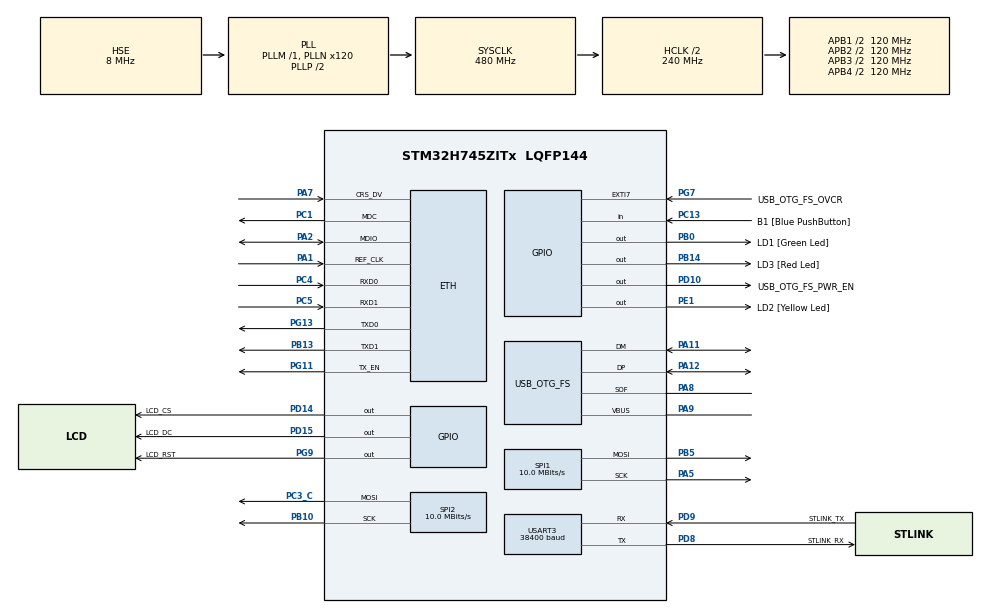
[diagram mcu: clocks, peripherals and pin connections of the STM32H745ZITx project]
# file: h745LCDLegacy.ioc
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CortexM4.IPs=FATFS_M4\:I,FREERTOS_M4\:I,IWDG2\:I,RCC,WWDG2\:I,DMA,BDMA,MDMA,NVIC2\:I,ETH,DEBUG,USB_DEVICE_M4\:I,USB_HOST_M4\:I,PDM2PCM_M4\:I,PWR,RESMGR_UTILITY,SYS_M4\:I,CORTEX_M4\:I,OPENAMP_M4\:I,VREFBUF,GPIO
CortexM7.IPs=FATFS_M7\:I,FREERTOS_M7\:I,IWDG1\:I,RCC\:I,WWDG1\:I,DMA\:I,BDMA\:I,MDMA\:I,NVIC1\:I,SYS\:I,USART3\:I,USB_OTG_FS\:I,ETH\:I,CORTEX_M7\:I,DEBUG\:I,USB_DEVICE_M7\:I,USB_HOST_M7\:I,PDM2PCM_M7\:I,PWR\:I,RESMGR_UTILITY\:I,OPENAMP_M7\:I,VREFBUF\:I,SPI1\:I,GPIO\:I,SPI2\:I
CortexM7.Pins=PD14,PD15,PG9
Dma.Request0=SPI1_TX
Dma.Request1=USART3_RX
Dma.Request2=USART3_TX
Dma.Request3=SPI2_TX
Dma.SPI1_TX.0.Direction=DMA_MEMORY_TO_PERIPH
Dma.SPI1_TX.0.EventEnable=DISABLE
Dma.SPI1_TX.0.FIFOMode=DMA_FIFOMODE_DISABLE
Dma.SPI1_TX.0.Instance=DMA1_Stream0
Dma.SPI1_TX.0.MemDataAlignment=DMA_MDATAALIGN_BYTE
Dma.SPI1_TX.0.MemInc=DMA_MINC_ENABLE
Dma.SPI1_TX.0.Mode=DMA_CIRCULAR
Dma.SPI1_TX.0.PeriphDataAlignment=DMA_PDATAALIGN_BYTE
Dma.SPI1_TX.0.PeriphInc=DMA_PINC_DISABLE
Dma.SPI1_TX.0.Polarity=HAL_DMAMUX_REQ_GEN_RISING
Dma.SPI1_TX.0.Priority=DMA_PRIORITY_LOW
Dma.SPI1_TX.0.RequestNumber=1
Dma.SPI1_TX.0.SignalID=NONE
Dma.SPI1_TX.0.SyncEnable=DISABLE
Dma.SPI1_TX.0.SyncPolarity=HAL_DMAMUX_SYNC_NO_EVENT
Dma.SPI1_TX.0.SyncRequestNumber=1
Dma.SPI1_TX.0.SyncSignalID=NONE
Dma.SPI2_TX.3.Direction=DMA_MEMORY_TO_PERIPH
Dma.SPI2_TX.3.EventEnable=DISABLE
Dma.SPI2_TX.3.FIFOMode=DMA_FIFOMODE_DISABLE
Dma.SPI2_TX.3.Instance=DMA1_Stream3
Dma.SPI2_TX.3.MemDataAlignment=DMA_MDATAALIGN_BYTE
Dma.SPI2_TX.3.MemInc=DMA_MINC_ENABLE
Dma.SPI2_TX.3.Mode=DMA_CIRCULAR
Dma.SPI2_TX.3.PeriphDataAlignment=DMA_PDATAALIGN_BYTE
Dma.SPI2_TX.3.PeriphInc=DMA_PINC_DISABLE
Dma.SPI2_TX.3.Polarity=HAL_DMAMUX_REQ_GEN_RISING
Dma.SPI2_TX.3.Priority=DMA_PRIORITY_LOW
Dma.SPI2_TX.3.RequestNumber=1
Dma.SPI2_TX.3.SignalID=NONE
Dma.SPI2_TX.3.SyncEnable=DISABLE
Dma.SPI2_TX.3.SyncPolarity=HAL_DMAMUX_SYNC_NO_EVENT
Dma.SPI2_TX.3.SyncRequestNumber=1
Dma.SPI2_TX.3.SyncSignalID=NONE
Dma.USART3_RX.1.Direction=DMA_PERIPH_TO_MEMORY
Dma.USART3_RX.1.EventEnable=DISABLE
Dma.USART3_RX.1.FIFOMode=DMA_FIFOMODE_DISABLE
Dma.USART3_RX.1.Instance=DMA1_Stream1
Dma.USART3_RX.1.MemDataAlignment=DMA_MDATAALIGN_BYTE
Dma.USART3_RX.1.MemInc=DMA_MINC_ENABLE
Dma.USART3_RX.1.Mode=DMA_CIRCULAR
Dma.USART3_RX.1.PeriphDataAlignment=DMA_PDATAALIGN_BYTE
Dma.USART3_RX.1.PeriphInc=DMA_PINC_DISABLE
Dma.USART3_RX.1.Polarity=HAL_DMAMUX_REQ_GEN_RISING
Dma.USART3_RX.1.Priority=DMA_PRIORITY_LOW
Dma.USART3_RX.1.RequestNumber=1
Dma.USART3_RX.1.SignalID=NONE
Dma.USART3_RX.1.SyncEnable=DISABLE
Dma.USART3_RX.1.SyncPolarity=HAL_DMAMUX_SYNC_NO_EVENT
Dma.USART3_RX.1.SyncRequestNumber=1
Dma.USART3_RX.1.SyncSignalID=NONE
Dma.USART3_TX.2.Direction=DMA_MEMORY_TO_PERIPH
Dma.USART3_TX.2.EventEnable=DISABLE
Dma.USART3_TX.2.FIFOMode=DMA_FIFOMODE_DISABLE
Dma.USART3_TX.2.Instance=DMA1_Stream2
Dma.USART3_TX.2.MemDataAlignment=DMA_MDATAALIGN_BYTE
Dma.USART3_TX.2.MemInc=DMA_MINC_ENABLE
Dma.USART3_TX.2.Mode=DMA_NORMAL
Dma.USART3_TX.2.PeriphDataAlignment=DMA_PDATAALIGN_BYTE
Dma.USART3_TX.2.PeriphInc=DMA_PINC_DISABLE
Dma.USART3_TX.2.Polarity=HAL_DMAMUX_REQ_GEN_RISING
Dma.USART3_TX.2.Priority=DMA_PRIORITY_LOW
Dma.USART3_TX.2.RequestNumber=1
Dma.USART3_TX.2.SignalID=NONE
Dma.USART3_TX.2.SyncEnable=DISABLE
Dma.USART3_TX.2.SyncPolarity=HAL_DMAMUX_SYNC_NO_EVENT
Dma.USART3_TX.2.SyncRequestNumber=1
Dma.USART3_TX.2.SyncSignalID=NONE
ETH.MediaInterface=HAL_ETH_RMII_MODE
Mcu.Family=STM32H7
Mcu.Name=STM32H745ZITx
Mcu.Package=LQFP144
NVIC1.DMA1_Stream0_IRQn=true\:0\:0\:false\:false\:true\:false\:true\:true
NVIC1.DMA1_Stream1_IRQn=true\:0\:0\:false\:false\:true\:false\:true\:true
NVIC1.DMA1_Stream2_IRQn=true\:0\:0\:false\:false\:true\:false\:true\:true
NVIC1.DMA1_Stream3_IRQn=true\:0\:0\:false\:false\:true\:false\:true\:true
NVIC1.PriorityGroup=NVIC_PRIORITYGROUP_4
NVIC1.SPI1_IRQn=true\:0\:0\:false\:false\:true\:false\:true\:true
NVIC1.SPI2_IRQn=true\:0\:0\:false\:false\:true\:false\:true\:true
NVIC1.USART3_IRQn=true\:0\:0\:false\:false\:true\:true\:true\:true
NVIC2.PriorityGroup=NVIC_PRIORITYGROUP_4
PA1.Mode=RMII
PA1.PinAttribute=CortexM7
PA1.Signal=ETH_REF_CLK
PA11.Mode=Device_Only
PA11.PinAttribute=CortexM7
PA11.Signal=USB_OTG_FS_DM
PA12.Mode=Device_Only
PA12.PinAttribute=CortexM7
PA12.Signal=USB_OTG_FS_DP
PA2.Mode=RMII
PA2.PinAttribute=CortexM7
PA2.Signal=ETH_MDIO
PA5.Mode=TX_Only_Simplex_Unidirect_Master
PA5.PinAttribute=CortexM7
PA5.Signal=SPI1_SCK
PA7.Mode=RMII
PA7.PinAttribute=CortexM7
PA7.Signal=ETH_CRS_DV
PA8.Mode=Activate_SOF_FS
PA8.PinAttribute=CortexM7
PA8.Signal=USB_OTG_FS_SOF
PA9.Mode=Activate_VBUS
PA9.PinAttribute=CortexM7
PA9.Signal=USB_OTG_FS_VBUS
PB0.GPIO_Label=LD1 [Green Led]
PB0.PinAttribute=Free
PB0.Signal=GPIO_Output
PB10.Mode=TX_Only_Simplex_Unidirect_Master
PB10.PinAttribute=CortexM7
PB10.Signal=SPI2_SCK
PB13.Mode=RMII
PB13.PinAttribute=CortexM7
PB13.Signal=ETH_TXD1
PB14.GPIO_Label=LD3 [Red Led]
PB14.PinAttribute=Free
PB14.Signal=GPIO_Output
PB5.Mode=TX_Only_Simplex_Unidirect_Master
PB5.PinAttribute=CortexM7
PB5.Signal=SPI1_MOSI
PC1.Mode=RMII
PC1.PinAttribute=CortexM7
PC1.Signal=ETH_MDC
PC13.GPIO_Label=B1 [Blue PushButton]
PC13.PinAttribute=Free
PC13.Signal=GPIO_Input
PC14-OSC32_IN\ (OSC32_IN).Mode=LSE-External-Oscillator
PC14-OSC32_IN\ (OSC32_IN).PinAttribute=CortexM7
PC14-OSC32_IN\ (OSC32_IN).Signal=RCC_OSC32_IN
PC15-OSC32_OUT\ (OSC32_OUT).Mode=LSE-External-Oscillator
PC15-OSC32_OUT\ (OSC32_OUT).PinAttribute=CortexM7
PC15-OSC32_OUT\ (OSC32_OUT).Signal=RCC_OSC32_OUT
PC3_C.Mode=TX_Only_Simplex_Unidirect_Master
PC3_C.PinAttribute=CortexM7
PC3_C.Signal=SPI2_MOSI
PC4.Mode=RMII
PC4.PinAttribute=CortexM7
PC4.Signal=ETH_RXD0
PC5.Mode=RMII
PC5.PinAttribute=CortexM7
PC5.Signal=ETH_RXD1
PD10.GPIO_Label=USB_OTG_FS_PWR_EN
PD10.PinAttribute=Free
PD10.Signal=GPIO_Output
PD14.GPIO_Label=LCD_CS
PD14.PinAttribute=CortexM7
PD14.PinState=GPIO_PIN_SET
PD14.Signal=GPIO_Output
PD15.GPIO_Label=LCD_DC
PD15.PinAttribute=CortexM7
PD15.Signal=GPIO_Output
PD8.GPIO_Label=STLINK_RX
PD8.Mode=Asynchronous
PD8.PinAttribute=CortexM7
PD8.Signal=USART3_TX
PD9.GPIO_Label=STLINK_TX
PD9.Mode=Asynchronous
PD9.PinAttribute=CortexM7
PD9.Signal=USART3_RX
PE1.GPIO_Label=LD2 [Yellow Led]
PE1.PinAttribute=Free
PE1.Signal=GPIO_Output
PG11.Mode=RMII
PG11.PinAttribute=CortexM7
PG11.Signal=ETH_TX_EN
PG13.Mode=RMII
PG13.PinAttribute=CortexM7
PG13.Signal=ETH_TXD0
PG7.GPIO_Label=USB_OTG_FS_OVCR
PG7.PinAttribute=Free
PG7.Signal=GPXTI7
PG9.GPIO_Label=LCD_RST
PG9.PinAttribute=CortexM7
PG9.PinState=GPIO_PIN_SET
PG9.Signal=GPIO_Output
PH0-OSC_IN\ (PH0).Mode=HSE-External-Clock-Source
PH0-OSC_IN\ (PH0).PinAttribute=CortexM7
PH0-OSC_IN\ (PH0).Signal=RCC_OSC_IN
PH1-OSC_OUT\ (PH1).PinAttribute=CortexM7
PH1-OSC_OUT\ (PH1).Signal=RCC_OSC_OUT
ProjectManager.HeapSize=M4-0x200,M7-0x200
ProjectManager.StackSize=M4-0x400,M7-0x400
ProjectManager.TargetToolchain=STM32CubeIDE
RCC.ADCFreq_Value=16125000
RCC.APB1Freq_Value=120000000
RCC.APB2Freq_Value=120000000
RCC.APB3Freq_Value=120000000
RCC.APB4Freq_Value=120000000
RCC.CortexFreq_Value=480000000
RCC.D1PPRE=RCC_APB3_DIV2
RCC.D2PPRE1=RCC_APB1_DIV2
RCC.D2PPRE2=RCC_APB2_DIV2
RCC.D3PPRE=RCC_APB4_DIV2
RCC.DIVM1=1
RCC.DIVM3=1
RCC.DIVN1=120
RCC.DIVN3=18
RCC.DIVQ1=6
RCC.DIVQ3=3
RCC.HCLKFreq_Value=240000000
RCC.HPRE=RCC_HCLK_DIV2
RCC.HSE_VALUE=8000000
RCC.PLL2FRACN=0
RCC.PLL3FRACN=6144
RCC.PLLFRACN=0
RCC.PWR_Regulator_Voltage_Scale=PWR_REGULATOR_VOLTAGE_SCALE0
RCC.SYSCLKFreq_VALUE=480000000
RCC.SYSCLKSource=RCC_SYSCLKSOURCE_PLLCLK
RCC.SupplySource=PWR_DIRECT_SMPS_SUPPLY
RCC.USBCLockSelection=RCC_USBCLKSOURCE_PLL3
RCC.USBFreq_Value=50000000
SPI1.BaudRatePrescaler=SPI_BAUDRATEPRESCALER_16
SPI1.CalculateBaudRate=10.0 MBits/s
SPI1.DataSize=SPI_DATASIZE_8BIT
SPI1.Direction=SPI_DIRECTION_2LINES_TXONLY
SPI1.MasterKeepIOState=SPI_MASTER_KEEP_IO_STATE_ENABLE
SPI1.Mode=SPI_MODE_MASTER
SPI1.VirtualType=VM_MASTER
SPI2.BaudRatePrescaler=SPI_BAUDRATEPRESCALER_16
SPI2.CalculateBaudRate=10.0 MBits/s
SPI2.DataSize=SPI_DATASIZE_8BIT
SPI2.Direction=SPI_DIRECTION_2LINES_TXONLY
SPI2.Mode=SPI_MODE_MASTER
SPI2.VirtualType=VM_MASTER
USART3.BaudRate=38400
USART3.VirtualMode-Asynchronous=VM_ASYNC
USB_OTG_FS.VirtualMode=Device_Only
VP_SYS_M4_VS_Systick.Mode=SysTick
board=NUCLEO-H745ZI-Q

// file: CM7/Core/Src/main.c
/* USER CODE BEGIN Header */
/**
 ******************************************************************************
 * @file           : main.c
 * @brief          : Main program body
 ******************************************************************************
 * @attention
 *
 * <h2><center>&copy; Copyright (c) 2021 STMicroelectronics.
 * All rights reserved.</center></h2>
 *
 * This software component is licensed by ST under BSD 3-Clause license,
 * the "License"; You may not use this file except in compliance with the
 * License. You may obtain a copy of the License at:
 *                        opensource.org/licenses/BSD-3-Clause
 *
 ******************************************************************************
 */
/* USER CODE END Header */
#include "main.h"
#include "string.h"

/* USER CODE BEGIN Includes */
#include <stdlib.h>
#include "ST7735.h"
#include "Uart.h"
#include "BMPUartDecode.h"
/* USER CODE END Includes */

/* USER CODE BEGIN PD */

#ifndef HSEM_ID_0
#define HSEM_ID_0 (0U) /* HW semaphore 0*/
#endif
/* USER CODE END PD */

#if defined ( __ICCARM__ ) /*!< IAR Compiler */
#pragma location=0x30000000
ETH_DMADescTypeDef  DMARxDscrTab[ETH_RX_DESC_CNT]; /* Ethernet Rx DMA Descriptors */
#pragma location=0x30000200
ETH_DMADescTypeDef  DMATxDscrTab[ETH_TX_DESC_CNT]; /* Ethernet Tx DMA Descriptors */

#elif defined ( __CC_ARM )  /* MDK ARM Compiler */

__attribute__((at(0x30000000))) ETH_DMADescTypeDef  DMARxDscrTab[ETH_RX_DESC_CNT]; /* Ethernet Rx DMA Descriptors */
__attribute__((at(0x30000200))) ETH_DMADescTypeDef  DMATxDscrTab[ETH_TX_DESC_CNT]; /* Ethernet Tx DMA Descriptors */

#elif defined ( __GNUC__ ) /* GNU Compiler */
ETH_DMADescTypeDef DMARxDscrTab[ETH_RX_DESC_CNT] __attribute__((section(".RxDecripSection"))); /* Ethernet Rx DMA Descriptors */
ETH_DMADescTypeDef DMATxDscrTab[ETH_TX_DESC_CNT] __attribute__((section(".TxDecripSection")));   /* Ethernet Tx DMA Descriptors */

#endif

ETH_TxPacketConfig TxConfig;

ETH_HandleTypeDef heth;

SPI_HandleTypeDef hspi1;
SPI_HandleTypeDef hspi2;
DMA_HandleTypeDef hdma_spi1_tx;
DMA_HandleTypeDef hdma_spi2_tx;

UART_HandleTypeDef huart3;
DMA_HandleTypeDef hdma_usart3_rx;
DMA_HandleTypeDef hdma_usart3_tx;

PCD_HandleTypeDef hpcd_USB_OTG_FS;

/* USER CODE BEGIN PV */
LCDHandle ST7735 = { 0 };
UARTStucrture UART2 ={ 0 };
/* USER CODE END PV */

void SystemClock_Config(void);
static void MX_GPIO_Init(void);
static void MX_ETH_Init(void);
static void MX_USART3_UART_Init(void);
static void MX_DMA_Init(void);
static void MX_SPI1_Init(void);
static void MX_USB_OTG_FS_PCD_Init(void);
static void MX_SPI2_Init(void);

int main(void)
{
/* USER CODE BEGIN Boot_Mode_Sequence_0 */
	int32_t timeout;
/* USER CODE END Boot_Mode_Sequence_0 */

/* USER CODE BEGIN Boot_Mode_Sequence_1 */
	/* Wait until CPU2 boots and enters in stop mode or timeout*/
	timeout = 0xFFFF;
	while ((__HAL_RCC_GET_FLAG(RCC_FLAG_D2CKRDY) != RESET) && (timeout-- > 0))
		;
	if (timeout < 0) {
		Error_Handler();
	}
/* USER CODE END Boot_Mode_Sequence_1 */
  /* MCU Configuration--------------------------------------------------------*/

  /* Reset of all peripherals, Initializes the Flash interface and the Systick. */
  HAL_Init();

  /* Configure the system clock */
  SystemClock_Config();
/* USER CODE BEGIN Boot_Mode_Sequence_2 */
	/* When system initialization is finished, Cortex-M7 will release Cortex-M4 by means of
	 HSEM notification */
	/*HW semaphore Clock enable*/
	__HAL_RCC_HSEM_CLK_ENABLE();
	/*Take HSEM */
	HAL_HSEM_FastTake(HSEM_ID_0);
	/*Release HSEM in order to notify the CPU2(CM4)*/
	HAL_HSEM_Release(HSEM_ID_0, 0);
	/* wait until CPU2 wakes up from stop mode */
	timeout = 0xFFFF;
	while ((__HAL_RCC_GET_FLAG(RCC_FLAG_D2CKRDY) == RESET) && (timeout-- > 0))
		;
	if (timeout < 0) {
		Error_Handler();
	}
/* USER CODE END Boot_Mode_Sequence_2 */

  /* Initialize all configured peripherals */
  MX_GPIO_Init();
  MX_ETH_Init();
  MX_USART3_UART_Init();
  MX_DMA_Init();
  MX_SPI1_Init();
  MX_USB_OTG_FS_PCD_Init();
  MX_SPI2_Init();
  /* USER CODE BEGIN 2 */

	ST7735.hspi = &hspi1;
	ST7735.CSPort = GPIOD;
	ST7735.CSPin = GPIO_PIN_14;
	ST7735.DCPort = GPIOD;
	ST7735.DCPin = GPIO_PIN_15;
	ST7735.RstPort = GPIOG;
	ST7735.RstPin = GPIO_PIN_9;
	LCD_init(&ST7735);
	LCD_flush(&ST7735);
	UART2.huart = &huart3;
	UART2.RxLen =255;
	UART2.TxLen =255;
	UARTInit(&UART2);
	UARTResetStart(&UART2);

  /* USER CODE END 2 */

  /* Infinite loop */
	while (1) {

    /* USER CODE BEGIN 3 */
		int16_t read = UARTReadChar(&UART2) ;
		if(read != -1)
			{
				BMPDecoder(read, LCDBufferAddr());
			}
	}
  /* USER CODE END 3 */
}

void SystemClock_Config(void)
{
  RCC_OscInitTypeDef RCC_OscInitStruct = {0};
  RCC_ClkInitTypeDef RCC_ClkInitStruct = {0};

  /** Supply configuration update enable
  */
  HAL_PWREx_ConfigSupply(PWR_DIRECT_SMPS_SUPPLY);

  /** Configure the main internal regulator output voltage
  */
  __HAL_PWR_VOLTAGESCALING_CONFIG(PWR_REGULATOR_VOLTAGE_SCALE0);

  while(!__HAL_PWR_GET_FLAG(PWR_FLAG_VOSRDY)) {}

  /** Macro to configure the PLL clock source
  */
  __HAL_RCC_PLL_PLLSOURCE_CONFIG(RCC_PLLSOURCE_HSE);

  /** Initializes the RCC Oscillators according to the specified parameters
  * in the RCC_OscInitTypeDef structure.
  */
  RCC_OscInitStruct.OscillatorType = RCC_OSCILLATORTYPE_HSE;
  RCC_OscInitStruct.HSEState = RCC_HSE_BYPASS;
  RCC_OscInitStruct.PLL.PLLState = RCC_PLL_ON;
  RCC_OscInitStruct.PLL.PLLSource = RCC_PLLSOURCE_HSE;
  RCC_OscInitStruct.PLL.PLLM = 1;
  RCC_OscInitStruct.PLL.PLLN = 120;
  RCC_OscInitStruct.PLL.PLLP = 2;
  RCC_OscInitStruct.PLL.PLLQ = 6;
  RCC_OscInitStruct.PLL.PLLR = 2;
  RCC_OscInitStruct.PLL.PLLRGE = RCC_PLL1VCIRANGE_3;
  RCC_OscInitStruct.PLL.PLLVCOSEL = RCC_PLL1VCOWIDE;
  RCC_OscInitStruct.PLL.PLLFRACN = 0;
  if (HAL_RCC_OscConfig(&RCC_OscInitStruct) != HAL_OK)
  {
    Error_Handler();
  }

  /** Initializes the CPU, AHB and APB buses clocks
  */
  RCC_ClkInitStruct.ClockType = RCC_CLOCKTYPE_HCLK|RCC_CLOCKTYPE_SYSCLK
                              |RCC_CLOCKTYPE_PCLK1|RCC_CLOCKTYPE_PCLK2
                              |RCC_CLOCKTYPE_D3PCLK1|RCC_CLOCKTYPE_D1PCLK1;
  RCC_ClkInitStruct.SYSCLKSource = RCC_SYSCLKSOURCE_PLLCLK;
  RCC_ClkInitStruct.SYSCLKDivider = RCC_SYSCLK_DIV1;
  RCC_ClkInitStruct.AHBCLKDivider = RCC_HCLK_DIV2;
  RCC_ClkInitStruct.APB3CLKDivider = RCC_APB3_DIV2;
  RCC_ClkInitStruct.APB1CLKDivider = RCC_APB1_DIV2;
  RCC_ClkInitStruct.APB2CLKDivider = RCC_APB2_DIV2;
  RCC_ClkInitStruct.APB4CLKDivider = RCC_APB4_DIV2;

  if (HAL_RCC_ClockConfig(&RCC_ClkInitStruct, FLASH_LATENCY_4) != HAL_OK)
  {
    Error_Handler();
  }
}

static void MX_ETH_Init(void)
{

   static uint8_t MACAddr[6];

  heth.Instance = ETH;
  MACAddr[0] = 0x00;
  MACAddr[1] = 0x80;
  MACAddr[2] = 0xE1;
  MACAddr[3] = 0x00;
  MACAddr[4] = 0x00;
  MACAddr[5] = 0x00;
  heth.Init.MACAddr = &MACAddr[0];
  heth.Init.MediaInterface = HAL_ETH_RMII_MODE;
  heth.Init.TxDesc = DMATxDscrTab;
  heth.Init.RxDesc = DMARxDscrTab;
  heth.Init.RxBuffLen = 1524;

  if (HAL_ETH_Init(&heth) != HAL_OK)
  {
    Error_Handler();
  }

  memset(&TxConfig, 0 , sizeof(ETH_TxPacketConfig));
  TxConfig.Attributes = ETH_TX_PACKETS_FEATURES_CSUM | ETH_TX_PACKETS_FEATURES_CRCPAD;
  TxConfig.ChecksumCtrl = ETH_CHECKSUM_IPHDR_PAYLOAD_INSERT_PHDR_CALC;
  TxConfig.CRCPadCtrl = ETH_CRC_PAD_INSERT;

}

static void MX_SPI1_Init(void)
{

  /* SPI1 parameter configuration*/
  hspi1.Instance = SPI1;
  hspi1.Init.Mode = SPI_MODE_MASTER;
  hspi1.Init.Direction = SPI_DIRECTION_2LINES_TXONLY;
  hspi1.Init.DataSize = SPI_DATASIZE_8BIT;
  hspi1.Init.CLKPolarity = SPI_POLARITY_LOW;
  hspi1.Init.CLKPhase = SPI_PHASE_1EDGE;
  hspi1.Init.NSS = SPI_NSS_SOFT;
  hspi1.Init.BaudRatePrescaler = SPI_BAUDRATEPRESCALER_16;
  hspi1.Init.FirstBit = SPI_FIRSTBIT_MSB;
  hspi1.Init.TIMode = SPI_TIMODE_DISABLE;
  hspi1.Init.CRCCalculation = SPI_CRCCALCULATION_DISABLE;
  hspi1.Init.CRCPolynomial = 0x0;
  hspi1.Init.NSSPMode = SPI_NSS_PULSE_ENABLE;
  hspi1.Init.NSSPolarity = SPI_NSS_POLARITY_LOW;
  hspi1.Init.FifoThreshold = SPI_FIFO_THRESHOLD_01DATA;
  hspi1.Init.TxCRCInitializationPattern = SPI_CRC_INITIALIZATION_ALL_ZERO_PATTERN;
  hspi1.Init.RxCRCInitializationPattern = SPI_CRC_INITIALIZATION_ALL_ZERO_PATTERN;
  hspi1.Init.MasterSSIdleness = SPI_MASTER_SS_IDLENESS_00CYCLE;
  hspi1.Init.MasterInterDataIdleness = SPI_MASTER_INTERDATA_IDLENESS_00CYCLE;
  hspi1.Init.MasterReceiverAutoSusp = SPI_MASTER_RX_AUTOSUSP_DISABLE;
  hspi1.Init.MasterKeepIOState = SPI_MASTER_KEEP_IO_STATE_ENABLE;
  hspi1.Init.IOSwap = SPI_IO_SWAP_DISABLE;
  if (HAL_SPI_Init(&hspi1) != HAL_OK)
  {
    Error_Handler();
  }

}

static void MX_SPI2_Init(void)
{

  /* SPI2 parameter configuration*/
  hspi2.Instance = SPI2;
  hspi2.Init.Mode = SPI_MODE_MASTER;
  hspi2.Init.Direction = SPI_DIRECTION_2LINES_TXONLY;
  hspi2.Init.DataSize = SPI_DATASIZE_8BIT;
  hspi2.Init.CLKPolarity = SPI_POLARITY_LOW;
  hspi2.Init.CLKPhase = SPI_PHASE_1EDGE;
  hspi2.Init.NSS = SPI_NSS_SOFT;
  hspi2.Init.BaudRatePrescaler = SPI_BAUDRATEPRESCALER_16;
  hspi2.Init.FirstBit = SPI_FIRSTBIT_MSB;
  hspi2.Init.TIMode = SPI_TIMODE_DISABLE;
  hspi2.Init.CRCCalculation = SPI_CRCCALCULATION_DISABLE;
  hspi2.Init.CRCPolynomial = 0x0;
  hspi2.Init.NSSPMode = SPI_NSS_PULSE_ENABLE;
  hspi2.Init.NSSPolarity = SPI_NSS_POLARITY_LOW;
  hspi2.Init.FifoThreshold = SPI_FIFO_THRESHOLD_01DATA;
  hspi2.Init.TxCRCInitializationPattern = SPI_CRC_INITIALIZATION_ALL_ZERO_PATTERN;
  hspi2.Init.RxCRCInitializationPattern = SPI_CRC_INITIALIZATION_ALL_ZERO_PATTERN;
  hspi2.Init.MasterSSIdleness = SPI_MASTER_SS_IDLENESS_00CYCLE;
  hspi2.Init.MasterInterDataIdleness = SPI_MASTER_INTERDATA_IDLENESS_00CYCLE;
  hspi2.Init.MasterReceiverAutoSusp = SPI_MASTER_RX_AUTOSUSP_DISABLE;
  hspi2.Init.MasterKeepIOState = SPI_MASTER_KEEP_IO_STATE_DISABLE;
  hspi2.Init.IOSwap = SPI_IO_SWAP_DISABLE;
  if (HAL_SPI_Init(&hspi2) != HAL_OK)
  {
    Error_Handler();
  }

}

static void MX_USART3_UART_Init(void)
{

  huart3.Instance = USART3;
  huart3.Init.BaudRate = 38400;
  huart3.Init.WordLength = UART_WORDLENGTH_8B;
  huart3.Init.StopBits = UART_STOPBITS_1;
  huart3.Init.Parity = UART_PARITY_NONE;
  huart3.Init.Mode = UART_MODE_TX_RX;
  huart3.Init.HwFlowCtl = UART_HWCONTROL_NONE;
  huart3.Init.OverSampling = UART_OVERSAMPLING_16;
  huart3.Init.OneBitSampling = UART_ONE_BIT_SAMPLE_DISABLE;
  huart3.Init.ClockPrescaler = UART_PRESCALER_DIV1;
  huart3.AdvancedInit.AdvFeatureInit = UART_ADVFEATURE_NO_INIT;
  if (HAL_UART_Init(&huart3) != HAL_OK)
  {
    Error_Handler();
  }
  if (HAL_UARTEx_SetTxFifoThreshold(&huart3, UART_TXFIFO_THRESHOLD_1_8) != HAL_OK)
  {
    Error_Handler();
  }
  if (HAL_UARTEx_SetRxFifoThreshold(&huart3, UART_RXFIFO_THRESHOLD_1_8) != HAL_OK)
  {
    Error_Handler();
  }
  if (HAL_UARTEx_DisableFifoMode(&huart3) != HAL_OK)
  {
    Error_Handler();
  }

}

static void MX_USB_OTG_FS_PCD_Init(void)
{

  hpcd_USB_OTG_FS.Instance = USB_OTG_FS;
  hpcd_USB_OTG_FS.Init.dev_endpoints = 9;
  hpcd_USB_OTG_FS.Init.speed = PCD_SPEED_FULL;
  hpcd_USB_OTG_FS.Init.dma_enable = DISABLE;
  hpcd_USB_OTG_FS.Init.phy_itface = PCD_PHY_EMBEDDED;
  hpcd_USB_OTG_FS.Init.Sof_enable = DISABLE;
  hpcd_USB_OTG_FS.Init.low_power_enable = DISABLE;
  hpcd_USB_OTG_FS.Init.lpm_enable = DISABLE;
  hpcd_USB_OTG_FS.Init.battery_charging_enable = ENABLE;
  hpcd_USB_OTG_FS.Init.vbus_sensing_enable = ENABLE;
  hpcd_USB_OTG_FS.Init.use_dedicated_ep1 = DISABLE;
  if (HAL_PCD_Init(&hpcd_USB_OTG_FS) != HAL_OK)
  {
    Error_Handler();
  }

}

static void MX_DMA_Init(void)
{

  /* DMA controller clock enable */
  __HAL_RCC_DMA1_CLK_ENABLE();

  /* DMA interrupt init */
  /* DMA1_Stream0_IRQn interrupt configuration */
  HAL_NVIC_SetPriority(DMA1_Stream0_IRQn, 0, 0);
  HAL_NVIC_EnableIRQ(DMA1_Stream0_IRQn);
  /* DMA1_Stream1_IRQn interrupt configuration */
  HAL_NVIC_SetPriority(DMA1_Stream1_IRQn, 0, 0);
  HAL_NVIC_EnableIRQ(DMA1_Stream1_IRQn);
  /* DMA1_Stream2_IRQn interrupt configuration */
  HAL_NVIC_SetPriority(DMA1_Stream2_IRQn, 0, 0);
  HAL_NVIC_EnableIRQ(DMA1_Stream2_IRQn);
  /* DMA1_Stream3_IRQn interrupt configuration */
  HAL_NVIC_SetPriority(DMA1_Stream3_IRQn, 0, 0);
  HAL_NVIC_EnableIRQ(DMA1_Stream3_IRQn);

}

static void MX_GPIO_Init(void)
{
  GPIO_InitTypeDef GPIO_InitStruct = {0};

  /* GPIO Ports Clock Enable */
  __HAL_RCC_GPIOC_CLK_ENABLE();
  __HAL_RCC_GPIOH_CLK_ENABLE();
  __HAL_RCC_GPIOA_CLK_ENABLE();
  __HAL_RCC_GPIOB_CLK_ENABLE();
  __HAL_RCC_GPIOD_CLK_ENABLE();
  __HAL_RCC_GPIOG_CLK_ENABLE();

  /*Configure GPIO pin Output Level */
  HAL_GPIO_WritePin(LCD_CS_GPIO_Port, LCD_CS_Pin, GPIO_PIN_SET);

  /*Configure GPIO pin Output Level */
  HAL_GPIO_WritePin(LCD_DC_GPIO_Port, LCD_DC_Pin, GPIO_PIN_RESET);

  /*Configure GPIO pin Output Level */
  HAL_GPIO_WritePin(LCD_RST_GPIO_Port, LCD_RST_Pin, GPIO_PIN_SET);

  /*Configure GPIO pins : LCD_CS_Pin LCD_DC_Pin */
  GPIO_InitStruct.Pin = LCD_CS_Pin|LCD_DC_Pin;
  GPIO_InitStruct.Mode = GPIO_MODE_OUTPUT_PP;
  GPIO_InitStruct.Pull = GPIO_NOPULL;
  GPIO_InitStruct.Speed = GPIO_SPEED_FREQ_LOW;
  HAL_GPIO_Init(GPIOD, &GPIO_InitStruct);

  /*Configure GPIO pin : LCD_RST_Pin */
  GPIO_InitStruct.Pin = LCD_RST_Pin;
  GPIO_InitStruct.Mode = GPIO_MODE_OUTPUT_PP;
  GPIO_InitStruct.Pull = GPIO_NOPULL;
  GPIO_InitStruct.Speed = GPIO_SPEED_FREQ_LOW;
  HAL_GPIO_Init(LCD_RST_GPIO_Port, &GPIO_InitStruct);

}

void Error_Handler(void)
{
	__disable_irq();
	while (1) {
	}
}
